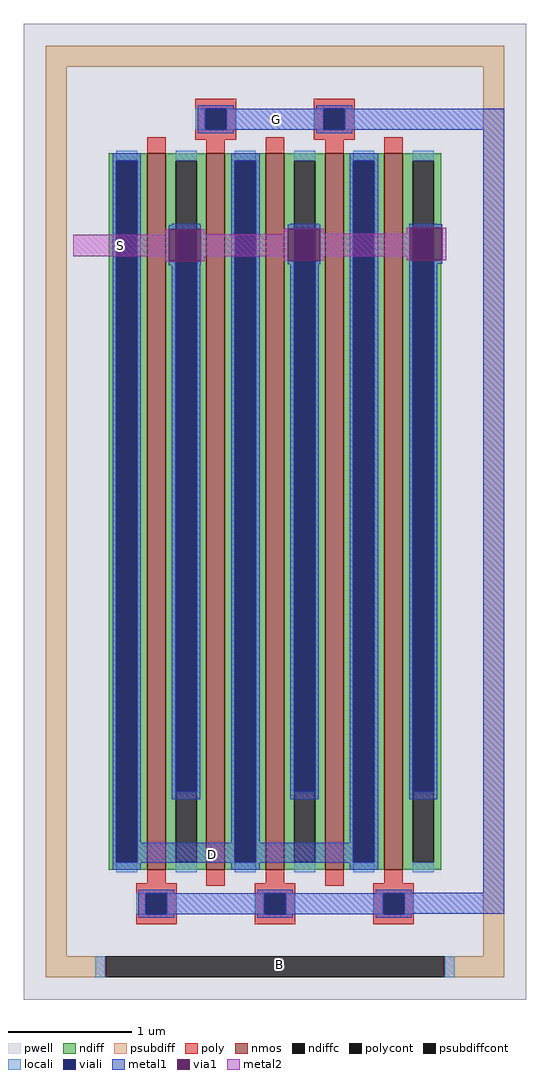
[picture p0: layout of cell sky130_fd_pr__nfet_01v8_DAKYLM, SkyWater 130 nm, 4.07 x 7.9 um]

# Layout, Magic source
magic
tech sky130A
magscale 1 2
<< pwell >>
rect -407 -790 407 790
<< nmos >>
rect -207 -580 -177 580
rect -111 -580 -81 580
rect -15 -580 15 580
rect 81 -580 111 580
rect 177 -580 207 580
<< ndiff >>
rect -269 568 -207 580
rect -269 -568 -257 568
rect -223 -568 -207 568
rect -269 -580 -207 -568
rect -177 568 -111 580
rect -177 -568 -161 568
rect -127 -568 -111 568
rect -177 -580 -111 -568
rect -81 568 -15 580
rect -81 -568 -65 568
rect -31 -568 -15 568
rect -81 -580 -15 -568
rect 15 568 81 580
rect 15 -568 31 568
rect 65 -568 81 568
rect 15 -580 81 -568
rect 111 568 177 580
rect 111 -568 127 568
rect 161 -568 177 568
rect 111 -580 177 -568
rect 207 568 269 580
rect 207 -568 223 568
rect 257 -568 269 568
rect 207 -580 269 -568
<< ndiffc >>
rect -257 -568 -223 568
rect -161 -568 -127 568
rect -65 -568 -31 568
rect 31 -568 65 568
rect 127 -568 161 568
rect 223 -568 257 568
<< psubdiff >>
rect -371 720 371 754
rect -371 -720 -337 720
rect 337 -720 371 720
rect -371 -754 -275 -720
rect 275 -754 371 -720
<< psubdiffcont >>
rect -275 -754 275 -720
<< poly >>
rect -129 652 -63 668
rect -129 618 -113 652
rect -79 618 -63 652
rect -207 580 -177 606
rect -129 602 -63 618
rect 63 652 129 668
rect 63 618 79 652
rect 113 618 129 652
rect -111 580 -81 602
rect -15 580 15 606
rect 63 602 129 618
rect 81 580 111 602
rect 177 580 207 606
rect -207 -602 -177 -580
rect -225 -618 -159 -602
rect -111 -606 -81 -580
rect -15 -602 15 -580
rect -225 -652 -209 -618
rect -175 -652 -159 -618
rect -225 -668 -159 -652
rect -33 -618 33 -602
rect 81 -606 111 -580
rect 177 -602 207 -580
rect -33 -652 -17 -618
rect 17 -652 33 -618
rect -33 -668 33 -652
rect 159 -618 225 -602
rect 159 -652 175 -618
rect 209 -652 225 -618
rect 159 -668 225 -652
<< polycont >>
rect -113 618 -79 652
rect 79 618 113 652
rect -209 -652 -175 -618
rect -17 -652 17 -618
rect 175 -652 209 -618
<< locali >>
rect -129 618 -113 652
rect -79 618 -63 652
rect 63 618 79 652
rect 113 618 129 652
rect -257 568 -223 584
rect -257 -584 -223 -568
rect -161 568 -127 584
rect -161 -584 -127 -568
rect -65 568 -31 584
rect -65 -584 -31 -568
rect 31 568 65 584
rect 31 -584 65 -568
rect 127 568 161 584
rect 127 -584 161 -568
rect 223 568 257 584
rect 223 -584 257 -568
rect -225 -652 -209 -618
rect -175 -652 -159 -618
rect -33 -652 -17 -618
rect 17 -652 33 -618
rect 159 -652 175 -618
rect 209 -652 225 -618
rect -291 -754 -275 -720
rect 275 -754 291 -720
<< viali >>
rect -113 618 -79 652
rect 79 618 113 652
rect -257 -568 -223 568
rect -161 -454 -127 454
rect -65 -568 -31 568
rect 31 -454 65 454
rect 127 -568 161 568
rect 223 -454 257 454
rect -209 -652 -175 -618
rect -17 -652 17 -618
rect 175 -652 209 -618
<< metal1 >>
rect -125 652 -67 658
rect 67 652 125 658
rect -125 618 -113 652
rect -79 618 79 652
rect 113 618 371 652
rect -125 612 -67 618
rect 67 612 125 618
rect -263 568 -217 580
rect -263 -568 -257 568
rect -223 -536 -217 568
rect -71 568 -25 580
rect -167 463 -121 466
rect -172 457 -120 463
rect -172 399 -161 405
rect -167 -454 -161 399
rect -127 399 -120 405
rect -127 -454 -121 399
rect -167 -466 -121 -454
rect -71 -536 -65 568
rect -223 -568 -65 -536
rect -31 -536 -25 568
rect 121 568 167 580
rect 25 464 71 466
rect 21 458 73 464
rect 21 400 31 406
rect 25 -454 31 400
rect 65 400 73 406
rect 65 -454 71 400
rect 25 -466 71 -454
rect 121 -536 127 568
rect -31 -568 127 -536
rect 161 -568 167 568
rect 217 465 263 466
rect 217 459 271 465
rect 217 407 219 459
rect 217 -454 223 407
rect 257 401 271 407
rect 257 -454 263 401
rect 217 -466 263 -454
rect -263 -569 167 -568
rect -263 -580 -217 -569
rect -71 -580 -25 -569
rect 121 -580 167 -569
rect -221 -618 -163 -612
rect -29 -618 29 -612
rect 163 -617 221 -612
rect 337 -617 371 618
rect 163 -618 371 -617
rect -221 -652 -209 -618
rect -175 -652 -17 -618
rect 17 -652 175 -618
rect 209 -651 371 -618
rect 209 -652 221 -651
rect -221 -658 -163 -652
rect -29 -658 29 -652
rect 163 -658 221 -652
<< via1 >>
rect -172 454 -120 457
rect -172 405 -161 454
rect -161 405 -127 454
rect -127 405 -120 454
rect 21 454 73 458
rect 21 406 31 454
rect 31 406 65 454
rect 65 406 73 454
rect 219 454 271 459
rect 219 407 223 454
rect 223 407 257 454
rect 257 407 271 454
<< metal2 >>
rect -178 448 -172 457
rect -327 413 -172 448
rect -178 405 -172 413
rect -120 449 -114 457
rect 15 449 21 458
rect -120 413 21 449
rect -120 405 -114 413
rect 15 406 21 413
rect 73 450 79 458
rect 213 450 219 459
rect 73 413 219 450
rect 73 406 79 413
rect 213 407 219 413
rect 271 407 277 459
<< labels >>
flabel metal1 s -101 -556 -101 -556 0 FreeSans 320 0 0 0 D
port 1 nsew
flabel metal2 s -327 413 -172 448 0 FreeSans 320 0 0 0 S
port 2 nsew
flabel locali s 8 -734 8 -734 0 FreeSans 320 0 0 0 B
port 3 nsew
flabel metal1 s 2 635 2 635 0 FreeSans 320 0 0 0 G
port 0 nsew
<< properties >>
string FIXED_BBOX -354 -737 354 737
string gencell sky130_fd_pr__nfet_01v8
string library sky130
string parameters w 5.8 l 0.150 m 1 nf 5 diffcov 100 polycov 100 guard 1 glc 0 grc 0 gtc 0 gbc 1 tbcov 100 rlcov 100 topc 1 botc 0 poverlap 0 doverlap 1 lmin 0.15 wmin 0.42 compatible {sky130_fd_pr__nfet_01v8 sky130_fd_pr__nfet_01v8_lvt  sky130_fd_bs_flash__special_sonosfet_star  sky130_fd_pr__nfet_g5v0d10v5 sky130_fd_pr__nfet_05v0_nvt  sky130_fd_pr__nfet_03v3_nvt} full_metal 0 viasrc 80 viadrn 100 viagate 100 viagb 0 viagr 0 viagl 0 viagt 0
<< end >>
